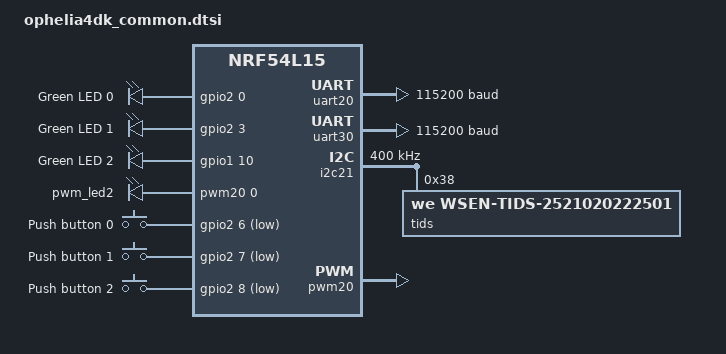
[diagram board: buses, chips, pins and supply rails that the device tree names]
/*
 * Copyright (c) 2026 Würth Elektronik eiSos GmbH & Co. KG
 *
 * SPDX-License-Identifier: Apache-2.0
 */

#include "ophelia4dk_nrf54l15-pinctrl.dtsi"

/ {
	leds {
		compatible = "gpio-leds";

		led0: led_0 {
			gpios = <&gpio2 0 GPIO_ACTIVE_HIGH>;
			label = "Green LED 0";
		};

		led1: led_1 {
			gpios = <&gpio2 3 GPIO_ACTIVE_HIGH>;
			label = "Green LED 1";
		};

		led2: led_2 {
			gpios = <&gpio1 10 GPIO_ACTIVE_HIGH>;
			label = "Green LED 2";
		};
	};

	pwmleds {
		compatible = "pwm-leds";

		/*
		 * PWM signal can be exposed on GPIO pin only within same domain.
		 * There is only one domain which contains both PWM and GPIO:
		 * PWM20/21/22 and GPIO Port P1.
		 * Only LEDs connected to P1 can work with PWM, for example LED2.
		 */
		pwm_led2: pwm_led_2 {
			pwms = <&pwm20 0 PWM_MSEC(20) PWM_POLARITY_NORMAL>;
		};
	};

	buttons {
		compatible = "gpio-keys";

		button0: button_0 {
			gpios = <&gpio2 6 (GPIO_PULL_UP | GPIO_ACTIVE_LOW)>;
			label = "Push button 0";
			zephyr,code = <INPUT_KEY_0>;
		};

		button1: button_1 {
			gpios = <&gpio2 7 (GPIO_PULL_UP | GPIO_ACTIVE_LOW)>;
			label = "Push button 1";
			zephyr,code = <INPUT_KEY_1>;
		};

		button2: button_2 {
			gpios = <&gpio2 8 (GPIO_PULL_UP | GPIO_ACTIVE_LOW)>;
			label = "Push button 2";
			zephyr,code = <INPUT_KEY_2>;
		};
	};

	aliases {
		led0 = &led0;
		led1 = &led1;
		led2 = &led2;
		pwm-led0 = &pwm_led2;
		sw0 = &button0;
		sw1 = &button1;
		sw2 = &button2;
		watchdog0 = &wdt31;
	};
};

&uart20 {
	current-speed = <115200>;
	pinctrl-0 = <&uart20_default>;
	pinctrl-1 = <&uart20_sleep>;
	pinctrl-names = "default", "sleep";
};

&uart30 {
	current-speed = <115200>;
	pinctrl-0 = <&uart30_default>;
	pinctrl-1 = <&uart30_sleep>;
	pinctrl-names = "default", "sleep";
};

&i2c21 {
	status = "okay";
	pinctrl-0 = <&i2c21_default>;
	pinctrl-1 = <&i2c21_sleep>;
	pinctrl-names = "default", "sleep";
    clock-frequency = <I2C_BITRATE_FAST>;
	pads:pads@5d {
		compatible = "we,wsen-pads-2511020213301";
		reg = <0x5d>;
		odr = <1>;
		status = "disabled";
	};

	tids:tids@38 {
		compatible = "we,wsen-tids-2521020222501";
		reg = < 0x38 >;
		odr = < 25 >;
		status = "okay";
	};
	hids:hids@44 {
		compatible = "we,wsen-hids-2525020210002";
		reg = <0x44>;
		precision = "high";
		status = "disabled";
	};
};

&pwm20 {
	status = "okay";
	pinctrl-0 = <&pwm20_default>;
	pinctrl-1 = <&pwm20_sleep>;
	pinctrl-names = "default", "sleep";
};

/* Get a node label for wi-fi spi to use in shield files */
wifi_spi: &spi22 {};
